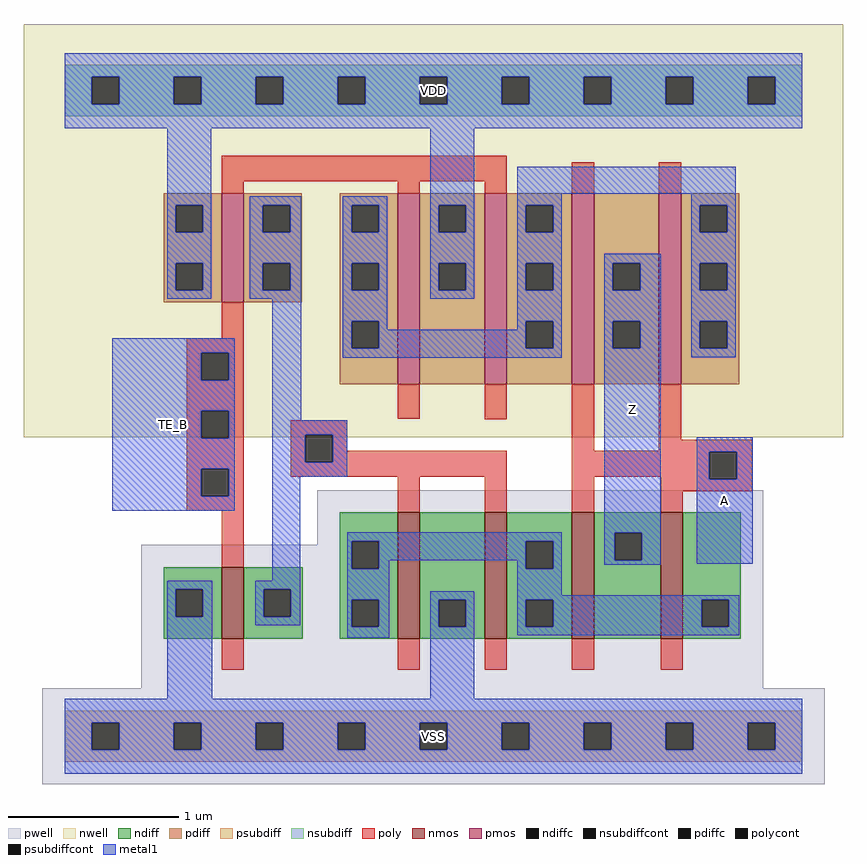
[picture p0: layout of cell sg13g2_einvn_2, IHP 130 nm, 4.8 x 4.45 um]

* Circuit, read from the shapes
.subckt sg13g2_einvn_2 VDD TE_B VSS A Z
XM1 n1 TE_B VSS VSS sg13_lv_nmos w=0.42u l=0.13u
XM2 VSS n1 n2 VSS sg13_lv_nmos w=0.74u l=0.13u m=2
XM3 Z A n2 VSS sg13_lv_nmos w=0.74u l=0.13u m=2
XM4 n1 TE_B VDD VDD sg13_lv_pmos w=0.64u l=0.13u
XM5 VDD TE_B n3 VDD sg13_lv_pmos w=1.12u l=0.13u m=2
XM6 Z A n3 VDD sg13_lv_pmos w=1.12u l=0.13u m=2
.ends

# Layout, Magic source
magic
tech ihp-sg13g2
magscale 1 2
<< nwell >>
rect -48 350 912 834
<< pwell >>
rect 296 224 818 288
rect 90 56 818 224
rect -26 -56 890 56
<< nmos >>
rect 184 114 210 198
rect 390 114 416 262
rect 492 114 518 262
rect 594 114 620 262
rect 698 114 724 262
<< pmos >>
rect 184 508 210 636
rect 390 412 416 636
rect 492 412 518 636
rect 594 412 620 636
rect 696 412 722 636
<< ndiff >>
rect 322 228 390 262
rect 116 172 184 198
rect 116 140 130 172
rect 162 140 184 172
rect 116 114 184 140
rect 210 172 279 198
rect 210 140 233 172
rect 265 140 279 172
rect 210 114 279 140
rect 322 196 336 228
rect 368 196 390 228
rect 322 160 390 196
rect 322 128 336 160
rect 368 128 390 160
rect 322 114 390 128
rect 416 160 492 262
rect 416 128 438 160
rect 470 128 492 160
rect 416 114 492 128
rect 518 228 594 262
rect 518 196 540 228
rect 572 196 594 228
rect 518 160 594 196
rect 518 128 540 160
rect 572 128 594 160
rect 518 114 594 128
rect 620 238 698 262
rect 620 206 644 238
rect 676 206 698 238
rect 620 114 698 206
rect 724 160 792 262
rect 724 128 746 160
rect 778 128 792 160
rect 724 114 792 128
<< pdiff >>
rect 116 622 184 636
rect 116 590 130 622
rect 162 590 184 622
rect 116 554 184 590
rect 116 522 130 554
rect 162 522 184 554
rect 116 508 184 522
rect 210 622 278 636
rect 210 590 232 622
rect 264 590 278 622
rect 210 554 278 590
rect 210 522 232 554
rect 264 522 278 554
rect 210 508 278 522
rect 322 622 390 636
rect 322 590 336 622
rect 368 590 390 622
rect 322 554 390 590
rect 322 522 336 554
rect 368 522 390 554
rect 322 486 390 522
rect 322 454 336 486
rect 368 454 390 486
rect 322 412 390 454
rect 416 622 492 636
rect 416 590 438 622
rect 470 590 492 622
rect 416 554 492 590
rect 416 522 438 554
rect 470 522 492 554
rect 416 412 492 522
rect 518 622 594 636
rect 518 590 540 622
rect 572 590 594 622
rect 518 554 594 590
rect 518 522 540 554
rect 572 522 594 554
rect 518 486 594 522
rect 518 454 540 486
rect 572 454 594 486
rect 518 412 594 454
rect 620 554 696 636
rect 620 522 642 554
rect 674 522 696 554
rect 620 486 696 522
rect 620 454 642 486
rect 674 454 696 486
rect 620 412 696 454
rect 722 622 790 636
rect 722 590 744 622
rect 776 590 790 622
rect 722 554 790 590
rect 722 522 744 554
rect 776 522 790 554
rect 722 486 790 522
rect 722 454 744 486
rect 776 454 790 486
rect 722 412 790 454
<< ndiffc >>
rect 130 140 162 172
rect 233 140 265 172
rect 336 196 368 228
rect 336 128 368 160
rect 438 128 470 160
rect 540 196 572 228
rect 540 128 572 160
rect 644 206 676 238
rect 746 128 778 160
<< pdiffc >>
rect 130 590 162 622
rect 130 522 162 554
rect 232 590 264 622
rect 232 522 264 554
rect 336 590 368 622
rect 336 522 368 554
rect 336 454 368 486
rect 438 590 470 622
rect 438 522 470 554
rect 540 590 572 622
rect 540 522 572 554
rect 540 454 572 486
rect 642 522 674 554
rect 642 454 674 486
rect 744 590 776 622
rect 744 522 776 554
rect 744 454 776 486
<< psubdiff >>
rect 0 16 864 30
rect 0 -16 32 16
rect 64 -16 128 16
rect 160 -16 224 16
rect 256 -16 320 16
rect 352 -16 416 16
rect 448 -16 512 16
rect 544 -16 608 16
rect 640 -16 704 16
rect 736 -16 800 16
rect 832 -16 864 16
rect 0 -30 864 -16
<< nsubdiff >>
rect 0 772 864 786
rect 0 740 32 772
rect 64 740 128 772
rect 160 740 224 772
rect 256 740 320 772
rect 352 740 416 772
rect 448 740 512 772
rect 544 740 608 772
rect 640 740 704 772
rect 736 740 800 772
rect 832 740 864 772
rect 0 726 864 740
<< psubdiffcont >>
rect 32 -16 64 16
rect 128 -16 160 16
rect 224 -16 256 16
rect 320 -16 352 16
rect 416 -16 448 16
rect 512 -16 544 16
rect 608 -16 640 16
rect 704 -16 736 16
rect 800 -16 832 16
<< nsubdiffcont >>
rect 32 740 64 772
rect 128 740 160 772
rect 224 740 256 772
rect 320 740 352 772
rect 416 740 448 772
rect 512 740 544 772
rect 608 740 640 772
rect 704 740 736 772
rect 800 740 832 772
<< poly >>
rect 184 650 518 680
rect 184 636 210 650
rect 390 636 416 650
rect 492 636 518 650
rect 594 636 620 672
rect 696 636 722 672
rect 184 466 210 508
rect 143 449 210 466
rect 143 417 160 449
rect 192 417 210 449
rect 143 381 210 417
rect 143 349 160 381
rect 192 349 210 381
rect 390 372 416 412
rect 492 371 518 412
rect 143 313 210 349
rect 143 281 160 313
rect 192 281 210 313
rect 265 353 331 370
rect 265 321 282 353
rect 314 334 331 353
rect 594 334 620 412
rect 696 347 722 412
rect 696 334 805 347
rect 314 321 518 334
rect 265 304 518 321
rect 143 264 210 281
rect 184 198 210 264
rect 390 262 416 304
rect 492 262 518 304
rect 594 333 805 334
rect 594 304 755 333
rect 594 262 620 304
rect 698 301 755 304
rect 787 301 805 333
rect 698 287 805 301
rect 698 262 724 287
rect 184 78 210 114
rect 390 78 416 114
rect 492 78 518 114
rect 594 78 620 114
rect 698 78 724 114
<< polycont >>
rect 160 417 192 449
rect 160 349 192 381
rect 160 281 192 313
rect 282 321 314 353
rect 755 301 787 333
<< metal1 >>
rect 0 772 864 800
rect 0 740 32 772
rect 64 740 128 772
rect 160 740 224 772
rect 256 740 320 772
rect 352 740 416 772
rect 448 740 512 772
rect 544 740 608 772
rect 640 740 704 772
rect 736 740 800 772
rect 832 740 864 772
rect 0 712 864 740
rect 120 622 172 712
rect 120 590 130 622
rect 162 590 172 622
rect 120 554 172 590
rect 120 522 130 554
rect 162 522 172 554
rect 120 512 172 522
rect 217 622 277 632
rect 217 590 232 622
rect 264 590 277 622
rect 217 554 277 590
rect 217 522 232 554
rect 264 522 277 554
rect 217 512 277 522
rect 56 449 199 466
rect 56 417 160 449
rect 192 417 199 449
rect 56 381 199 417
rect 56 349 160 381
rect 192 349 199 381
rect 56 313 199 349
rect 56 281 160 313
rect 192 281 199 313
rect 56 264 199 281
rect 243 370 277 512
rect 326 622 378 632
rect 326 590 336 622
rect 368 590 378 622
rect 326 554 378 590
rect 326 522 336 554
rect 368 522 378 554
rect 326 486 378 522
rect 428 622 480 712
rect 428 590 438 622
rect 470 590 480 622
rect 428 554 480 590
rect 428 522 438 554
rect 470 522 480 554
rect 428 512 480 522
rect 530 635 786 667
rect 530 622 582 635
rect 530 590 540 622
rect 572 590 582 622
rect 530 554 582 590
rect 734 622 786 635
rect 734 590 744 622
rect 776 590 786 622
rect 530 522 540 554
rect 572 522 582 554
rect 326 454 336 486
rect 368 476 378 486
rect 530 486 582 522
rect 530 476 540 486
rect 368 454 540 476
rect 572 454 582 486
rect 326 443 582 454
rect 632 554 698 565
rect 632 522 642 554
rect 674 522 698 554
rect 632 486 698 522
rect 632 454 642 486
rect 674 454 698 486
rect 243 353 331 370
rect 243 321 282 353
rect 314 321 331 353
rect 243 304 331 321
rect 243 182 276 304
rect 120 172 173 182
rect 120 140 130 172
rect 162 140 173 172
rect 120 44 173 140
rect 223 172 276 182
rect 223 140 233 172
rect 265 140 276 172
rect 223 130 276 140
rect 331 228 582 239
rect 331 196 336 228
rect 368 206 540 228
rect 368 196 380 206
rect 331 160 380 196
rect 530 196 540 206
rect 572 196 582 228
rect 632 238 698 454
rect 734 554 786 590
rect 734 522 744 554
rect 776 522 786 554
rect 734 486 786 522
rect 734 454 744 486
rect 776 454 786 486
rect 734 444 786 454
rect 632 206 644 238
rect 676 206 698 238
rect 632 201 698 206
rect 740 333 806 350
rect 740 301 755 333
rect 787 301 806 333
rect 740 202 806 301
rect 331 128 336 160
rect 368 128 380 160
rect 331 115 380 128
rect 428 160 480 170
rect 428 128 438 160
rect 470 128 480 160
rect 428 44 480 128
rect 530 165 582 196
rect 530 160 790 165
rect 530 128 540 160
rect 572 128 746 160
rect 778 128 790 160
rect 530 118 790 128
rect 0 16 864 44
rect 0 -16 32 16
rect 64 -16 128 16
rect 160 -16 224 16
rect 256 -16 320 16
rect 352 -16 416 16
rect 448 -16 512 16
rect 544 -16 608 16
rect 640 -16 704 16
rect 736 -16 800 16
rect 832 -16 864 16
rect 0 -44 864 -16
<< labels >>
flabel metal1 s 0 712 864 800 0 FreeSans 400 0 0 0 VDD
port 2 nsew
flabel metal1 s 56 264 199 466 0 FreeSans 400 0 0 0 TE_B
port 3 nsew
flabel metal1 s 0 -44 864 44 0 FreeSans 400 0 0 0 VSS
port 4 nsew
flabel metal1 s 740 202 806 350 0 FreeSans 400 0 0 0 A
port 5 nsew
flabel metal1 s 632 201 698 565 0 FreeSans 400 0 0 0 Z
port 6 nsew
<< properties >>
string FIXED_BBOX 0 0 864 756
<< end >>
